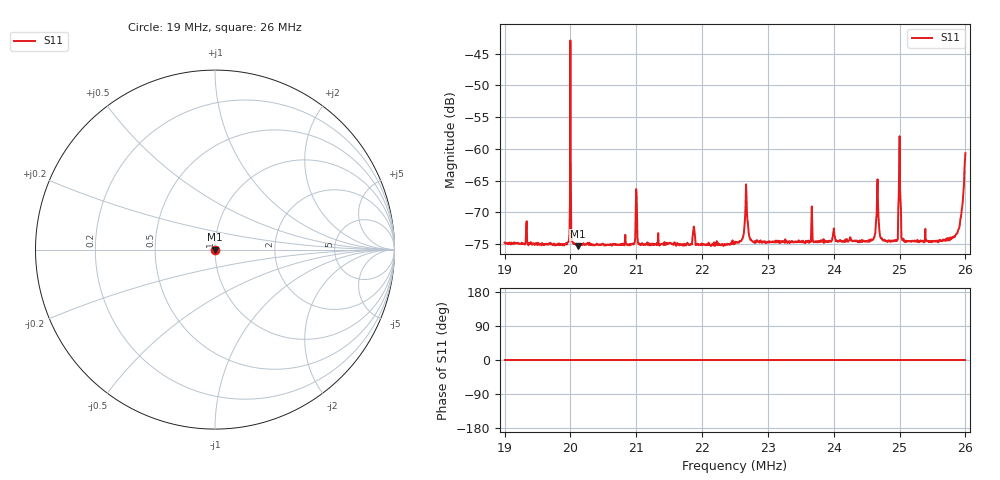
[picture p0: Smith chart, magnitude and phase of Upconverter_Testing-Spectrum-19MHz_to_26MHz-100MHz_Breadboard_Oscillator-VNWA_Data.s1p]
! ListType=Lin
# MHz S DB R 50
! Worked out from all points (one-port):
!   1024 points, 19 MHz to 26 MHz, reference 50 ohm
!   lowest |S11| = -75.3 dB at 20.11 MHz (marker M1), VSWR 1.00, Z = 50 + j0 ohm
!   |S11| at or under -10 dB: start of sweep to end of sweep
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19  -74.75 0.0
19.87586  -75.01 0.0
19.95112  -74.82 0.0
19.97165  -74.58 0.0
19.99902  -42.92 0.0
20.03324  -74.70 0.0
20.04692  -74.96 0.0
20.1085  -75.31 0.0
20.75171  -75.14 0.0
20.9433  -75.02 0.0
21.01173  -70.35 0.0
21.05963  -75.17 0.0
21.62757  -74.82 0.0
22.50342  -74.86 0.0
22.67449  -67.36 0.0
22.76344  -74.51 0.0
23.37928  -74.62 0.0
24.25513  -73.97 0.0
24.57674  -74.25 0.0
24.66569  -64.78 0.0
24.73412  -74.26 0.0
24.93939  -74.52 0.0
25.00782  -66.43 0.0
25.06256  -74.36 0.0
25.13099  -74.54 0.0
25.84946  -73.56 0.0
25.93157  -70.74 0.0
26  -60.67 0.0
